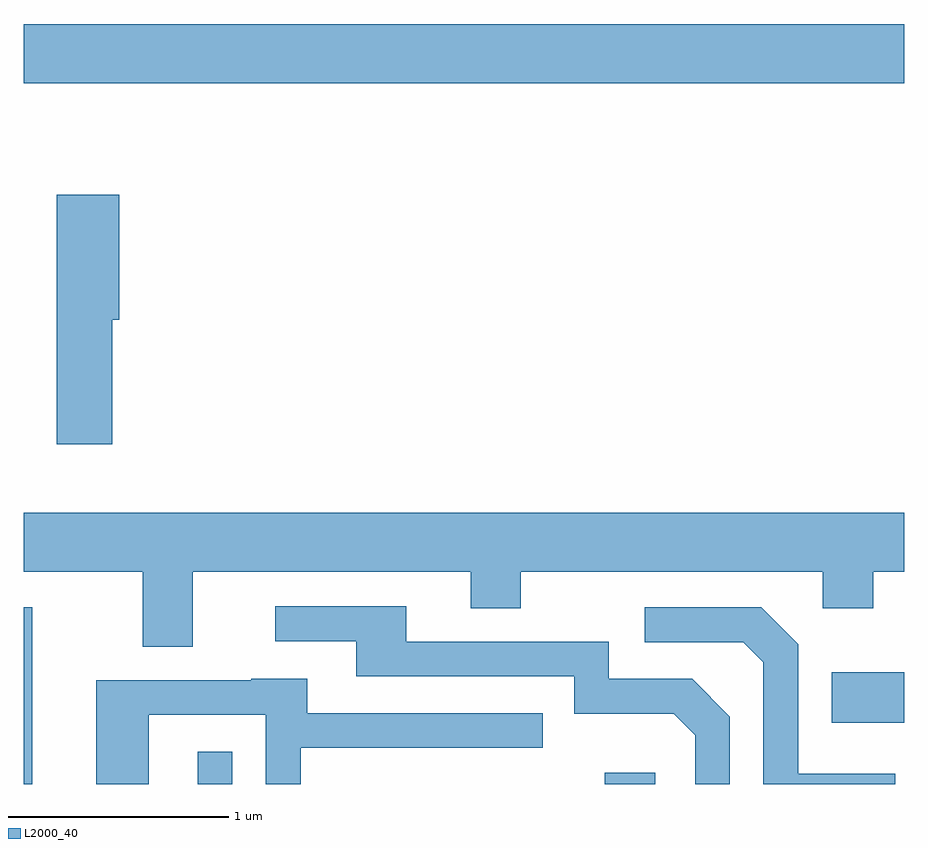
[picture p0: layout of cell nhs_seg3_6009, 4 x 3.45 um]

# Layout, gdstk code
import gdstk
lib = gdstk.Library(unit=1e-6, precision=1e-09)
def R(c, l, rs):  # rectangles x0, y0, x1, y1
    for r in rs: c.add(gdstk.rectangle(r[:2], r[2:], *l))
def P(c, l, *ps):  # polygons
    for p in ps: c.add(gdstk.Polygon(p, *l))
L2000_40 = (2000, 40)

nhs_seg3_6009 = lib.new_cell('nhs_seg3_6009')
R(nhs_seg3_6009, L2000_40, [(361.611,1173.892,361.649,1174.694), (362.401,1173.892,362.559,1174.038), (364.251,1173.892,364.479,1173.944), (365.281,1174.171,365.611,1174.399), (361.611,1177.076,365.611,1177.344)])
P(nhs_seg3_6009, L2000_40, [(362.014,1176.001),(362.044,1176.001),(362.044,1176.569),(361.761,1176.569),(361.761,1175.436),(362.014,1175.436)],
  [(362.379,1174.856),(363.641,1174.856),(363.641,1174.691),(363.869,1174.691),(363.869,1174.856),(365.241,1174.856),(365.241,1174.691),(365.469,1174.691),(365.469,1174.856),(365.611,1174.856),(365.611,1175.124),(361.611,1175.124),(361.611,1174.856),(362.151,1174.856),(362.151,1174.516),(362.379,1174.516)],
  [(364.819,1174.197),(364.647,1174.369),(364.269,1174.369),(364.269,1174.539),(363.349,1174.539),(363.349,1174.699),(362.753,1174.699),(362.753,1174.541),(363.121,1174.541),(363.121,1174.381),(364.111,1174.381),(364.111,1174.211),(364.564,1174.211),(364.661,1174.114),(364.661,1173.892),(364.819,1173.892)],
  [(365.569,1173.939),(365.129,1173.939),(365.129,1174.527),(364.962,1174.694),(364.433,1174.694),(364.433,1174.536),(364.879,1174.536),(364.971,1174.444),(364.971,1173.892),(365.569,1173.892)],
  [(362.179,1174.206),(362.711,1174.206),(362.711,1173.892),(362.869,1173.892),(362.869,1174.056),(363.968,1174.056),(363.968,1174.214),(362.899,1174.214),(362.899,1174.369),(362.645,1174.369),(362.645,1174.364),(361.941,1174.364),(361.941,1173.892),(362.179,1173.892)])

lib.write_gds('nhs_seg3_6009.gds')
